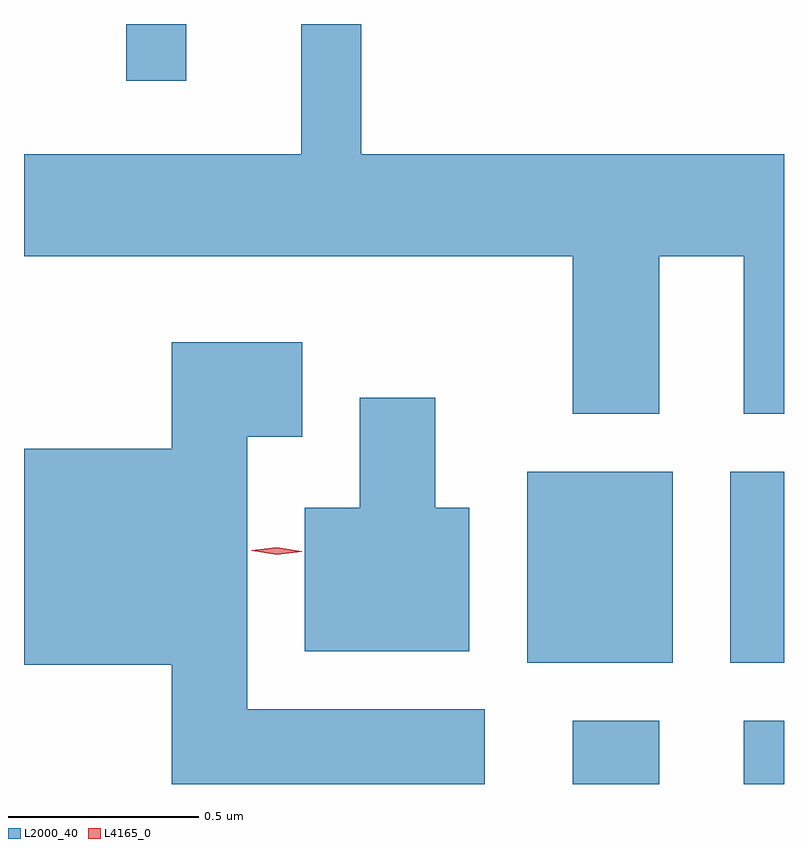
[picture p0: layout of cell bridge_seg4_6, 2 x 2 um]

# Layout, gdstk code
import gdstk
lib = gdstk.Library(unit=1e-6, precision=1e-09)
def R(c, l, rs):  # rectangles x0, y0, x1, y1
    for r in rs: c.add(gdstk.rectangle(r[:2], r[2:], *l))
def P(c, l, *ps):  # polygons
    for p in ps: c.add(gdstk.Polygon(p, *l))
L2000_40 = (2000, 40)
L4165_0 = (4165, 0)

bridge_seg4_6 = lib.new_cell('bridge_seg4_6')
R(bridge_seg4_6, L2000_40, [(1258.271,1377.707,1258.499,1377.874), (1258.721,1377.707,1258.827,1377.874), (1258.151,1378.026,1258.534,1378.529), (1258.686,1378.026,1258.827,1378.529), (1257.096,1379.558,1257.254,1379.707)])
P(bridge_seg4_6, L2000_40, [(1258.499,1379.096),(1258.721,1379.096),(1258.721,1378.681),(1258.827,1378.681),(1258.827,1379.364),(1257.714,1379.364),(1257.714,1379.707),(1257.556,1379.707),(1257.556,1379.364),(1256.827,1379.364),(1256.827,1379.096),(1258.271,1379.096),(1258.271,1378.681),(1258.499,1378.681)],
  [(1258.039,1377.904),(1257.414,1377.904),(1257.414,1378.621),(1257.559,1378.621),(1257.559,1378.869),(1257.216,1378.869),(1257.216,1378.589),(1256.827,1378.589),(1256.827,1378.021),(1257.216,1378.021),(1257.216,1377.707),(1258.039,1377.707)],
  [(1257.999,1378.434),(1257.909,1378.434),(1257.909,1378.724),(1257.711,1378.724),(1257.711,1378.434),(1257.566,1378.434),(1257.566,1378.056),(1257.999,1378.056)])
P(bridge_seg4_6, L4165_0, [(1257.492,1378.31),(1257.426,1378.321),(1257.426,1378.321),(1257.426,1378.322),(1257.492,1378.33),(1257.558,1378.32),(1257.558,1378.319),(1257.558,1378.318)])

lib.write_gds('bridge_seg4_6.gds')
